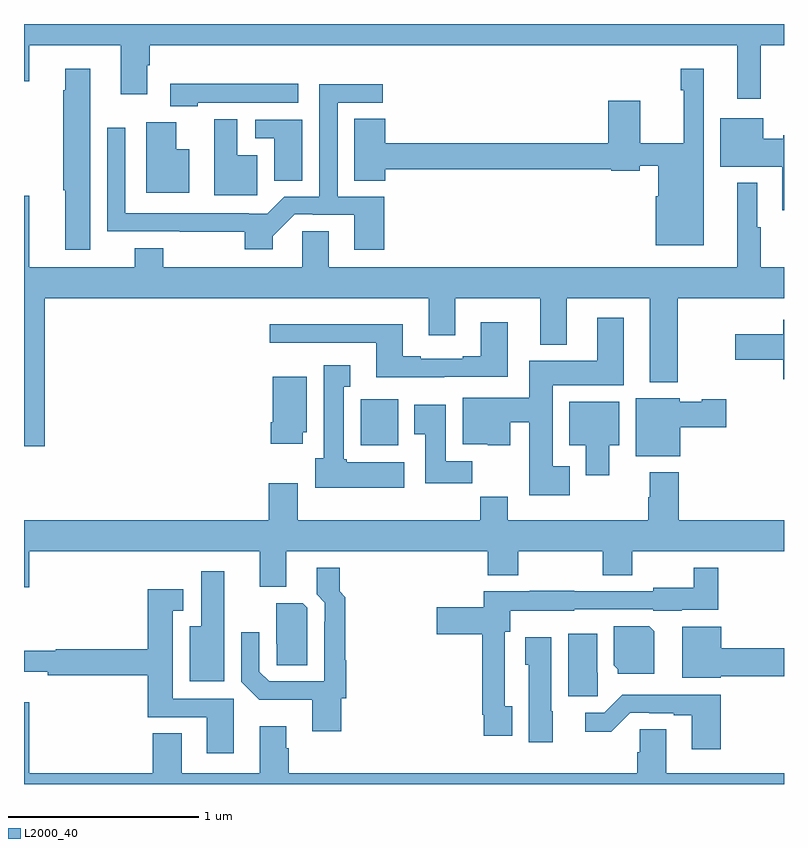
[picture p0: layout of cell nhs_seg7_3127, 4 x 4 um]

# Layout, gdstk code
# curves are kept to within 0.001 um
import gdstk
lib = gdstk.Library(unit=1e-6, precision=1e-09)
def R(c, l, rs):  # rectangles x0, y0, x1, y1
    for r in rs: c.add(gdstk.rectangle(r[:2], r[2:], *l))
def P(c, l, *ps):  # polygons
    for p in ps: c.add(gdstk.Polygon(p, *l))
L2000_40 = (2000, 40)

nhs_seg7_3127 = lib.new_cell('nhs_seg7_3127')
R(nhs_seg7_3127, L2000_40, [(310.772,1059.782,310.969,1060.024)])
P(nhs_seg7_3127, L2000_40, [(312.877,1061.888),(313,1061.888),(313,1062),(309,1062),(309,1061.7),(309.028,1061.7),(309.028,1061.888),(309.509,1061.888),(309.509,1061.631),(309.649,1061.631),(309.649,1061.782),(309.662,1061.782),(309.662,1061.888),(312.755,1061.888),(312.755,1061.607),(312.877,1061.607)],
  [(312.577,1061.764),(312.456,1061.764),(312.456,1061.651),(312.473,1061.651),(312.473,1061.372),(312.244,1061.372),(312.244,1061.596),(312.074,1061.596),(312.074,1061.372),(310.9,1061.372),(310.9,1061.501),(310.739,1061.501),(310.739,1061.176),(310.9,1061.176),(310.9,1061.236),(312.09,1061.236),(312.09,1061.228),(312.24,1061.228),(312.24,1061.255),(312.338,1061.255),(312.338,1061.094),(312.326,1061.094),(312.326,1060.835),(312.577,1060.835)],
  [(309.349,1061.764),(309.218,1061.764),(309.218,1061.651),(309.206,1061.651),(309.206,1061.124),(309.218,1061.124),(309.218,1060.812),(309.349,1060.812)],
  [(309.915,1061.585),(310.444,1061.585),(310.444,1061.686),(309.771,1061.686),(309.771,1061.567),(309.915,1061.567)],
  [(310.895,1061.091),(310.65,1061.091),(310.65,1061.586),(310.888,1061.586),(310.888,1061.684),(310.554,1061.684),(310.554,1061.091),(310.37,1061.091),(310.28,1061.001),(310.184,1061.001),(310.184,1061.004),(309.534,1061.004),(309.534,1061.455),(309.438,1061.455),(309.438,1060.908),(310.162,1060.907),(310.162,1060.814),(310.309,1060.814),(310.309,1060.882),(310.425,1060.998),(310.519,1060.998),(310.519,1060.995),(310.739,1060.995),(310.739,1060.812),(310.895,1060.812)],
  [(313,1061.415),(312.996,1061.415),(312.996,1061.397),(312.892,1061.397),(312.892,1061.503),(312.665,1061.503),(312.665,1061.249),(312.992,1061.249),(312.992,1061.019),(313,1061.019)],
  [(310.228,1061.308),(310.123,1061.308),(310.123,1061.5),(310.001,1061.5),(310.001,1061.099),(310.228,1061.099)],
  [(310.465,1061.496),(310.218,1061.496),(310.218,1061.4),(310.316,1061.4),(310.316,1061.176),(310.465,1061.176)],
  [(309.871,1061.341),(309.802,1061.341),(309.802,1061.482),(309.644,1061.482),(309.644,1061.111),(309.871,1061.111)],
  [(311.129,1060.362),(311.269,1060.362),(311.269,1060.556),(311.717,1060.556),(311.717,1060.313),(311.857,1060.313),(311.857,1060.556),(312.293,1060.556),(312.293,1060.115),(312.441,1060.115),(312.441,1060.556),(313,1060.556),(313,1060.72),(312.877,1060.72),(312.877,1060.931),(312.859,1060.931),(312.859,1061.164),(312.755,1061.164),(312.755,1060.72),(310.603,1060.72),(310.603,1060.91),(310.464,1060.91),(310.464,1060.72),(309.732,1060.72),(309.732,1060.819),(309.584,1060.819),(309.584,1060.72),(309.028,1060.72),(309.028,1061.095),(309,1061.095),(309,1059.777),(309.11,1059.777),(309.11,1060.556),(311.129,1060.556)],
  [(311.872,1059.673),(311.782,1059.673),(311.782,1060.1),(312.157,1060.1),(312.157,1060.453),(312.017,1060.453),(312.017,1060.228),(311.66,1060.228),(311.66,1060.033),(311.309,1060.033),(311.309,1059.788),(311.442,1059.788),(311.442,1059.782),(311.56,1059.782),(311.56,1059.904),(311.66,1059.904),(311.66,1059.521),(311.872,1059.521)],
  [(313,1060.444),(312.996,1060.444),(312.996,1060.366),(312.744,1060.366),(312.744,1060.232),(312.996,1060.232),(312.996,1060.13),(313,1060.13)],
  [(311.213,1060.143),(311.545,1060.143),(311.545,1060.429),(311.405,1060.429),(311.405,1060.252),(311.309,1060.252),(311.309,1060.239),(311.089,1060.239),(311.089,1060.252),(310.993,1060.252),(310.993,1060.42),(310.293,1060.42),(310.293,1060.323),(310.853,1060.323),(310.853,1060.142),(311.213,1060.142)],
  [(311.002,1059.694),(310.698,1059.694),(310.698,1059.708),(310.684,1059.708),(310.684,1060.091),(310.717,1060.091),(310.717,1060.204),(310.577,1060.204),(310.577,1059.714),(310.532,1059.714),(310.532,1059.56),(311.002,1059.56)],
  [(310.468,1059.852),(310.489,1059.852),(310.489,1060.144),(310.31,1060.144),(310.31,1059.904),(310.298,1059.904),(310.298,1059.792),(310.468,1059.792)],
  [(312.454,1059.878),(312.697,1059.878),(312.697,1060.025),(312.567,1060.025),(312.567,1060.012),(312.45,1060.012),(312.45,1060.03),(312.221,1060.03),(312.221,1059.725),(312.454,1059.725)],
  [(312.079,1059.782),(312.133,1059.782),(312.133,1060.012),(311.87,1060.012),(311.87,1059.782),(311.957,1059.782),(311.957,1059.624),(312.079,1059.624)],
  [(311.36,1059.7),(311.221,1059.7),(311.221,1059.997),(311.054,1059.997),(311.054,1059.841),(311.111,1059.841),(311.111,1059.582),(311.36,1059.582)],
  [(309.028,1059.224),(310.241,1059.224),(310.241,1059.037),(310.381,1059.037),(310.381,1059.224),(311.441,1059.224),(311.441,1059.1),(311.601,1059.1),(311.601,1059.224),(312.046,1059.224),(312.046,1059.1),(312.201,1059.1),(312.201,1059.224),(313,1059.224),(313,1059.388),(312.446,1059.388),(312.446,1059.64),(312.293,1059.64),(312.293,1059.509),(312.286,1059.509),(312.286,1059.388),(311.545,1059.388),(311.545,1059.512),(311.401,1059.512),(311.401,1059.388),(310.441,1059.388),(310.441,1059.583),(310.289,1059.583),(310.289,1059.388),(309,1059.388),(309,1059.036),(309.028,1059.036)],
  [(310.67,1058.451),(310.697,1058.451),(310.697,1058.651),(310.692,1058.651),(310.692,1058.984),(310.661,1059.015),(310.661,1059.139),(310.541,1059.139),(310.541,1058.998),(310.584,1058.955),(310.584,1058.855),(310.581,1058.855),(310.581,1058.541),(310.29,1058.541),(310.239,1058.592),(310.239,1058.8),(310.143,1058.8),(310.143,1058.538),(310.237,1058.444),(310.517,1058.444),(310.517,1058.277),(310.67,1058.277)],
  [(311.569,1058.409),(311.529,1058.409),(311.529,1058.801),(311.56,1058.801),(311.56,1058.912),(311.895,1058.912),(311.895,1058.919),(312.312,1058.919),(312.312,1058.912),(312.462,1058.912),(312.462,1058.918),(312.653,1058.918),(312.653,1059.139),(312.525,1059.139),(312.525,1059.034),(312.312,1059.034),(312.312,1059.015),(311.895,1059.015),(311.895,1059.017),(311.663,1059.017),(311.663,1059.015),(311.42,1059.015),(311.42,1058.931),(311.172,1058.931),(311.172,1058.789),(311.413,1058.789),(311.413,1058.365),(311.421,1058.365),(311.421,1058.253),(311.569,1058.253)],
  [(310.054,1059.121),(309.932,1059.121),(309.932,1058.83),(309.872,1058.83),(309.872,1058.54),(310.054,1058.54)],
  [(310.105,1058.448),(309.784,1058.448),(309.784,1058.912),(309.838,1058.912),(309.838,1059.025),(309.65,1059.025),(309.65,1058.708),(309.166,1058.708),(309.166,1058.701),(309,1058.701),(309,1058.591),(309.124,1058.591),(309.124,1058.572),(309.65,1058.572),(309.65,1058.352),(309.962,1058.352),(309.962,1058.163),(310.105,1058.163)],
  [(310.491,1058.928),(310.467,1058.952),(310.328,1058.952),(310.328,1058.737),(310.329,1058.737),(310.329,1058.626),(310.491,1058.626)],
  [(312.316,1058.804),(312.29,1058.83),(312.104,1058.83),(312.104,1058.626),(312.126,1058.604),(312.126,1058.579),(312.316,1058.579)],
  [(312.666,1058.567),(313,1058.567),(313,1058.714),(312.67,1058.714),(312.67,1058.828),(312.464,1058.828),(312.464,1058.558),(312.666,1058.558)],
  [(312.02,1058.586),(312.016,1058.586),(312.016,1058.791),(311.864,1058.791),(311.864,1058.463),(312.02,1058.463)],
  [(311.782,1058.382),(311.776,1058.382),(311.776,1058.773),(311.639,1058.773),(311.639,1058.628),(311.657,1058.628),(311.657,1058.22),(311.782,1058.22)],
  [(312.668,1058.47),(312.148,1058.47),(312.054,1058.376),(311.955,1058.376),(311.955,1058.274),(312.09,1058.274),(312.192,1058.376),(312.292,1058.376),(312.292,1058.373),(312.419,1058.373),(312.419,1058.361),(312.515,1058.361),(312.515,1058.184),(312.668,1058.184)],
  [(309,1058.431),(309,1058),(313,1058),(313,1058.056),(312.379,1058.056),(312.379,1058.288),(312.24,1058.288),(312.24,1058.166),(312.227,1058.166),(312.227,1058.056),(310.394,1058.056),(310.394,1058.189),(310.381,1058.189),(310.381,1058.305),(310.241,1058.305),(310.241,1058.056),(309.829,1058.056),(309.829,1058.267),(309.677,1058.267),(309.677,1058.056),(309.028,1058.056),(309.028,1058.431)])

lib.write_gds('nhs_seg7_3127.gds')
